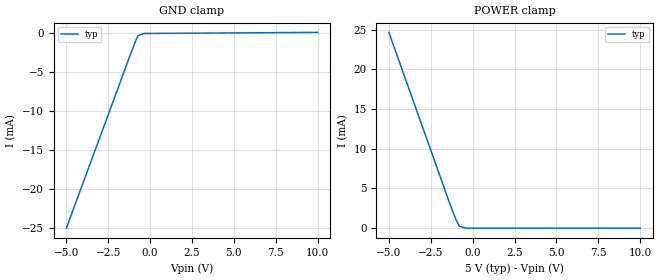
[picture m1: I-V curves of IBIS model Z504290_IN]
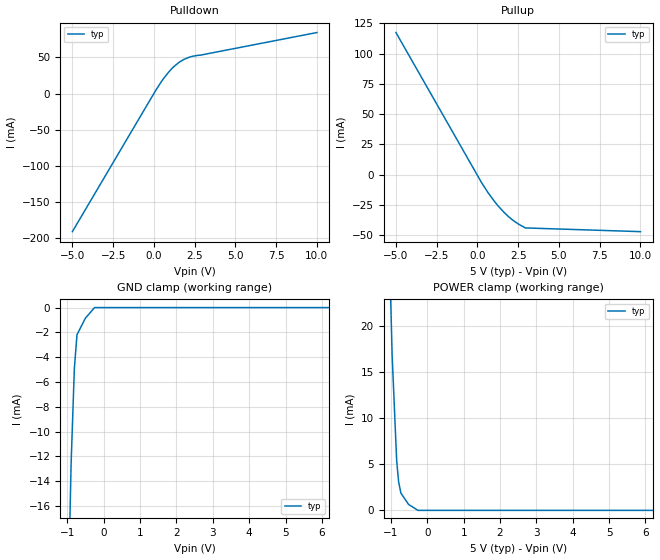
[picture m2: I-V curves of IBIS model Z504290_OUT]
| YOU ARE ONLY AUTHORIZED TO USE THIS SOFTWARE
| ACCORDING TO LICENSOR'S LICENSE RESTRICTIONS.
[IBIS Ver] 3.1
[File Name] mc54hct04aj.ibs
[File Rev] 2.0
[Source] Measured and created by ICX Technology
[Date] Friday 7/14/00 9:08:11 AM
[Copyright]
| (C) COPYRIGHT 1993-2000
| MENTOR GRAPHICS CORPORATION
| ICX STANDARD LIBRARY, ICX PROJECT MODELING,
| ICX CUSTOM MODELING, ICX VENDOR MODEL
| ALL RIGHTS RESERVED.
| THE FOLLOWING ARE TRADEMARKS OR SERVICE MARKS OF
| MENTOR GRAPHICS CORPORATION:ICX (R), ICX STANDARD
| LIBRARY(R), ICX PROJECT MODELING(R), ICX CUSTOM
| MODELING(R), qualityIBIS(TM), MODELVIEWER(TM),
| AND MODELEDITOR(TM)
| ALL COPIES OF SOFTWARE, INCLUDING BUT NOT LIMITED TO
| ANY MODIFICATIONS, ENHANCEMENTS OR DERIVATIVE WORKS,
| MUST CONTAIN ALL MENTOR GRAPHICS CORPORATION'S
| NOTICES AND LEGENDS, INCLUDING THOSE EMBEDDED IN
| SOFTWARE AND THOSE AFFIXED TO SOFTWARE MEDIUM
| AND CONTAINER, AS RECEIVED FROM MENTOR GRAPHICS
| CORPORATION.
|  ZAP Model Builder 2.7
[Component] MC54HCT04AJ
[Manufacturer] OnSemiconductor
[Package]
| variable   typ   min   max
R_pkg  .21ohms NA NA
L_pkg  4.543nH NA NA
C_pkg  1.8pF NA NA
[Pin] signal_name  model_name  R_pin  L_pin C_pin
1 A Z504290_IN .22 6.757n 2.434p
2 Y Z504290_OUT .212 4.757n 1.941p
3 A Z504290_IN .204 3.257n 1.448p
4 Y Z504290_OUT .196 2.257n .955p
5 A Z504290_IN .204 3.257n 1.448p
6 Y Z504290_OUT .212 4.757n 1.941p
7 GND GND .22 6.757n 2.434p
8 Y Z504290_OUT .22 6.757n 2.434p
9 A Z504290_IN .212 4.757n 1.941p
10 Y Z504290_OUT .204 3.257n 1.448p
11 A Z504290_IN .196 2.257n .955p
12 Y Z504290_OUT .204 3.257n 1.448p
13 A Z504290_IN .212 4.757n 1.941p
14 VCC POWER .22 6.757n 2.434p
| Models and submodels in the file (2): Z504290_IN (Input), Z504290_OUT (Output)
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| (C) COPYRIGHT 1993-2000
| MENTOR GRAPHICS CORPORATION
| ICX STANDARD LIBRARY, ICX PROJECT MODELING,
| ICX CUSTOM MODELING, ICX VENDOR MODEL
| ALL RIGHTS RESERVED.
| THE FOLLOWING ARE TRADEMARKS OR SERVICE MARKS OF
| MENTOR GRAPHICS CORPORATION:ICX (R), ICX STANDARD
| LIBRARY(R), ICX PROJECT MODELING(R), ICX CUSTOM
| MODELING(R), qualityIBIS(TM), MODELVIEWER(TM),
| AND MODELEDITOR(TM)
| ALL COPIES OF SOFTWARE, INCLUDING BUT NOT LIMITED TO
| ANY MODIFICATIONS, ENHANCEMENTS OR DERIVATIVE WORKS,
| MUST CONTAIN ALL MENTOR GRAPHICS CORPORATION'S
| NOTICES AND LEGENDS, INCLUDING THOSE EMBEDDED IN
| SOFTWARE AND THOSE AFFIXED TO SOFTWARE MEDIUM
| AND CONTAINER, AS RECEIVED FROM MENTOR GRAPHICS
| CORPORATION.
| Model Application Version 1.89 2/18/99.
[Model] Z504290_IN
Model_type Input
Vinl = 800.0mV
Vinh = 2.000V
C_comp 4.000pF NA NA
| variable typ   min   max
[Voltage Range] 5.000V NA NA
[GND Clamp Reference] 0.000V NA NA
[POWER Clamp Reference] 5.000V NA NA
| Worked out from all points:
|   POWER clamp passes 1 mA (typ) near -0.98 V on its own axis
[GND Clamp]
-5V       -24.97mA   NA         NA
-1.123V   -2.422mA   NA         NA
-839.5mV  -859.2uA   NA         NA
-727.2mV  -323.2uA   NA         NA
-363.6mV  -43.04uA   NA         NA
10V       98.31uA    NA         NA
[POWER Clamp]
-5V       24.67mA    NA         NA
-1.396V   3.279mA    NA         NA
-999mV    1.097mA    NA         NA
-788mV    221.2uA    NA         NA
-394mV    0A         NA         NA
10V       0A         NA         NA
| (C) COPYRIGHT 1993-2000
| MENTOR GRAPHICS CORPORATION
| ICX STANDARD LIBRARY, ICX PROJECT MODELING,
| ICX CUSTOM MODELING, ICX VENDOR MODEL
| ALL RIGHTS RESERVED.
| THE FOLLOWING ARE TRADEMARKS OR SERVICE MARKS OF
| MENTOR GRAPHICS CORPORATION:ICX (R), ICX STANDARD
| LIBRARY(R), ICX PROJECT MODELING(R), ICX CUSTOM
| MODELING(R), qualityIBIS(TM), MODELVIEWER(TM),
| AND MODELEDITOR(TM)
| ALL COPIES OF SOFTWARE, INCLUDING BUT NOT LIMITED TO
| ANY MODIFICATIONS, ENHANCEMENTS OR DERIVATIVE WORKS,
| MUST CONTAIN ALL MENTOR GRAPHICS CORPORATION'S
| NOTICES AND LEGENDS, INCLUDING THOSE EMBEDDED IN
| SOFTWARE AND THOSE AFFIXED TO SOFTWARE MEDIUM
| AND CONTAINER, AS RECEIVED FROM MENTOR GRAPHICS
| CORPORATION.
| Model Application Version 1.89 2/18/99.
[Model] Z504290_OUT
Model_type Output
Vref=0.000V
Rref=500.0Mohms
Cref=50.00pF
Vmeas=1.300V
C_comp 8.000pF NA NA
| variable typ   min   max
[Voltage Range] 5.000V NA NA
[POWER Clamp Reference] 5.000V NA NA
[Pullup Reference] 5.000V NA NA
[Pulldown Reference] 0.000V NA NA
[GND Clamp Reference] 0.000V NA NA
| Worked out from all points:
|   slope of the pulldown table from 0 to 0.75 V, typ, clamps not added: 29.8 ohm
|   slope of the pullup table from 0 to 0.75 V, typ, clamps not added: 46.6 ohm
|   GND clamp passes 1 mA (typ) near -0.53 V on its own axis
|   POWER clamp passes 1 mA (typ) near -0.58 V on its own axis
[GND Clamp]
-5V       -569.2mA   NA         NA
-898.4mV  -12.57mA   NA         NA
-809.7mV  -4.938mA   NA         NA
-737.2mV  -2.19mA    NA         NA
-507.9mV  -864.4uA   NA         NA
-253.9mV  0A         NA         NA
10V       0A         NA         NA
[Pulldown]
-5V       -191mA     NA         NA
102.6mV   4.01mA     NA         NA
605.5mV   21.16mA    NA         NA
1.264V    38.05mA    NA         NA
1.852V    47.3mA     NA         NA
2.407V    51.76mA    NA         NA
10V       84.41mA    NA         NA
[Pullup]
-5V       117.5mA    NA         NA
256mV     -6.702mA   NA         NA
664mV     -15.18mA   NA         NA
1.272V    -25.93mA   NA         NA
1.646V    -31.42mA   NA         NA
2.159V    -37.55mA   NA         NA
2.929V    -44.07mA   NA         NA
10V       -47.14mA   NA         NA
[POWER Clamp]
-5V       633.1mA    NA         NA
-969mV    16.89mA    NA         NA
-844mV    5.397mA    NA         NA
-790mV    3.093mA    NA         NA
-728mV    1.878mA    NA         NA
-518mV    648.3uA    NA         NA
-259mV    0A         NA         NA
10V       0A         NA         NA
[Ramp]
| variable typ min max
dV/dt_r 2.774/581.4p NA NA
dV/dt_f 2.774/752.8p NA NA
R_load = 500.0Ohms
